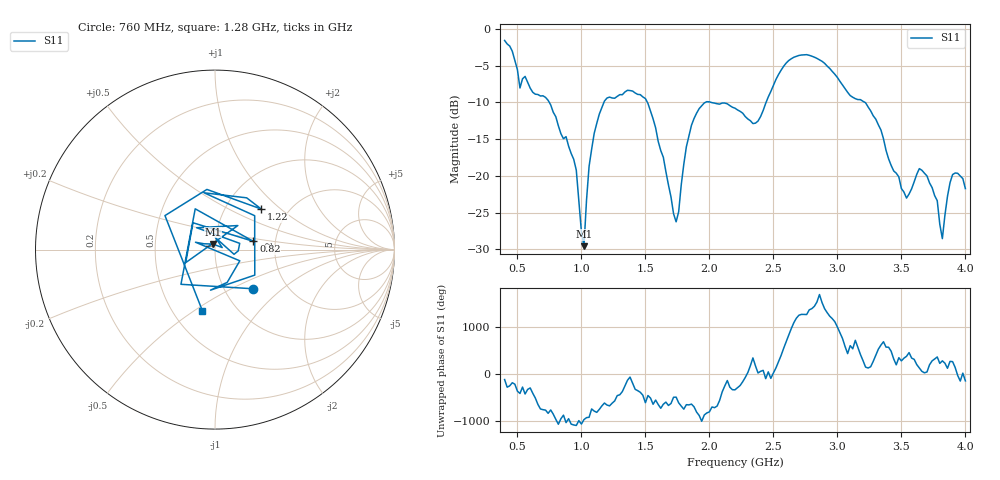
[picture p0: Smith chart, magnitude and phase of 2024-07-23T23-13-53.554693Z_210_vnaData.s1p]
!Created with skrf (http://scikit-rf.org).
# Hz S RI R 50.0
!freq ReS11 ImS11
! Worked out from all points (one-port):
!   181 points, 400 MHz to 4 GHz, reference 50 ohm
!   lowest |S11| = -29.6 dB at 1.02 GHz (marker M1), VSWR 1.07, Z = 48.8 + j3.05 ohm
!   |S11| at or under -10 dB: 1.515 GHz to 1.97 GHz (454.7 MHz wide, 26.1 % of centre); 2.011 GHz to 2.443 GHz (431.7 MHz wide, 19.4 % of centre); 3.214 GHz to end of sweep (the widest 3 of 4)
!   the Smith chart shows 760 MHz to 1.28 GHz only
!   S11 on the Smith chart (normalised r, x): 760 MHz: 1.36, -0.65; 820 MHz: 1.54, +0.15; 1.22 GHz: 1.47, +0.75; 1.28 GHz: 0.70, -0.54
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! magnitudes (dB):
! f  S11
! 400 MHz  -1.6
! 520 MHz  -8.1
! 760 MHz  -10.3
! 820 MHz  -13.2
! 860 MHz  -15.0
! 960 MHz  -19.2
! 1.02 GHz  -29.6
! 1.06 GHz  -18.7
! 1.1 GHz  -14.2
! 1.22 GHz  -9.3
! 1.28 GHz  -9.2
! 1.3 GHz  -9.0
! 1.52 GHz  -10.2
! 1.72 GHz  -25.2
! 1.76 GHz  -24.9
! 1.82 GHz  -16.0
! 1.9 GHz  -11.5
! 2.2 GHz  -10.8
! 2.38 GHz  -12.5
! 2.66 GHz  -3.9
! 3.1 GHz  -9.1
! 3.3 GHz  -12.3
! 3.56 GHz  -22.5
! 3.7 GHz  -20.0
! 3.78 GHz  -23.4
! 3.82 GHz  -28.5
! 3.9 GHz  -19.8
! 4 GHz  -21.7
